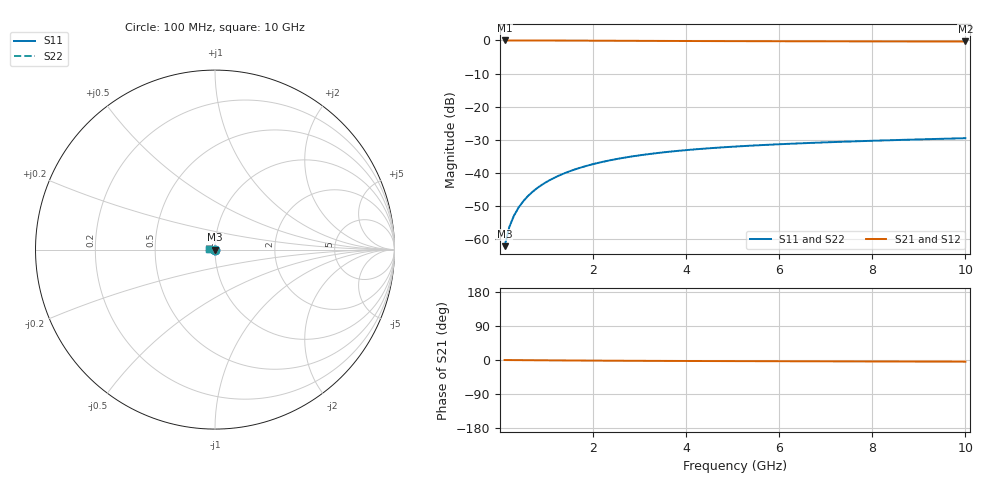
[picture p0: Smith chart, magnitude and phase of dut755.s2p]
! Touchstone file exported from HFSS 2024.1.0
!  File:  C:/UserFiles/LocalFiles/RDL_TSV_Batchsim/temp_TSV1_755_1779871700.aedt
!  Generated:  04:54:09 PM May 27, 2026
!  Design:  TSV1
!  Project:  temp_TSV1_755_1779871700
!  Setup:  Setup1
!  Solution:  Sweep
! Variables:
!  dtsv = 7.01um
!  hbump = 3um
!  htsv = 67.49um
!  lrdl = 252.1521522um
!  p = 40
!  p1 = 41.44um
!  t = 500um
!  trdl = 3um
!  wrdl = 24.89489489um
# GHz S MA R 50.000000
! Terminal data exported
! Port[1] = TSV22_T1
! Port[2] = TSV22_T2
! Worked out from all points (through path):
!   100 points, 100 MHz to 10 GHz, reference 50 ohm
!   highest |S21| = 0.00 dB at 100 MHz (marker M1); lowest = -0.3 dB at 10 GHz (marker M2)
!   lowest |S11| = -62.1 dB at 100 MHz (marker M3), VSWR 1.00, Z = 50 - j0.0744 ohm
!   |S11| at or under -10 dB: start of sweep to end of sweep
!   |S22| runs from -62.1 to -29.5 dB; largest |S21 - S12| = 4.2e-15
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0.1  0.000782 -71.9  0.9997 -0.1  0.9997 -0.1  0.000782 -71.9
! Gamma 0 0 0 0
! Port Impedance 50 0 50 0
0.2  0.001514 -83.2  0.9996 -0.2  0.9996 -0.2  0.001514 -83.2
0.3  0.002254 -88.3  0.9995 -0.3  0.9995 -0.3  0.002254 -88.3
0.4  0.002993 -91.7  0.9993 -0.4  0.9993 -0.4  0.002993 -91.7
0.5  0.003728 -94.4  0.9991 -0.5  0.9991 -0.5  0.003728 -94.4
0.6  0.004457 -96.8  0.9989 -0.5  0.9989 -0.5  0.004457 -96.8
0.7  0.00518 -99.0  0.9986 -0.6  0.9986 -0.6  0.00518 -99.0
0.8  0.005894 -101.0  0.9983 -0.7  0.9983 -0.7  0.005894 -101.0
0.9  0.0066 -103.0  0.9979 -0.8  0.9979 -0.8  0.0066 -103.0
1.1  0.007979 -106.7  0.9971 -1.0  0.9971 -1.0  0.007979 -106.7
1.4  0.009959 -111.9  0.9957 -1.2  0.9957 -1.2  0.009959 -111.9
1.6  0.01121 -115.1  0.9946 -1.3  0.9946 -1.3  0.01121 -115.1
1.8  0.01241 -118.3  0.9934 -1.5  0.9934 -1.5  0.01241 -118.3
2.1  0.0141 -122.8  0.9917 -1.7  0.9917 -1.7  0.0141 -122.8
2.5  0.01615 -128.5  0.9892 -1.9  0.9892 -1.9  0.01615 -128.5
2.9  0.01799 -133.7  0.9868 -2.1  0.9868 -2.1  0.01799 -133.7
3.4  0.02 -139.7  0.9839 -2.3  0.9839 -2.3  0.02 -139.7
4.2  0.02268 -148.3  0.9797 -2.7  0.9797 -2.7  0.02268 -148.3
5.1  0.02509 -156.6  0.9758 -3.0  0.9758 -3.0  0.02509 -156.6
6.7  0.02839 -168.9  0.9706 -3.5  0.9706 -3.5  0.02839 -168.9
8.4  0.03114 -179.4  0.9668 -4.0  0.9668 -4.0  0.03114 -179.4
10  0.03341 172.3  0.9643 -4.4  0.9643 -4.4  0.03341 172.3
